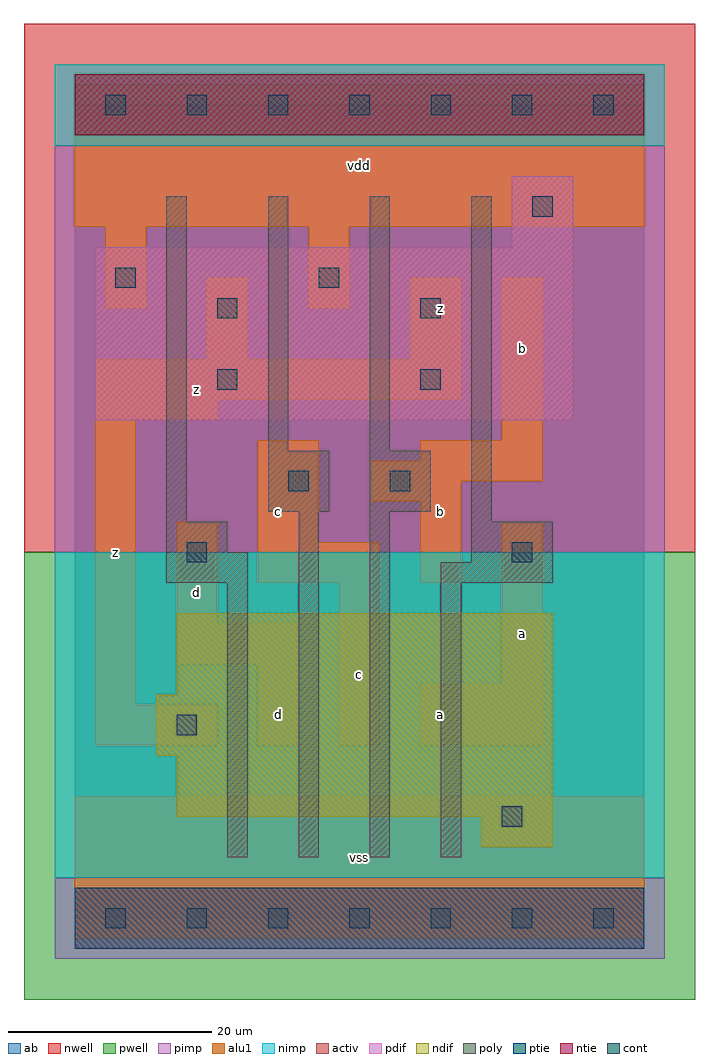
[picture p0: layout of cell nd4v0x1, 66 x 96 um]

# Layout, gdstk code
import gdstk
lib = gdstk.Library(unit=1e-6, precision=1e-09)
def R(c, l, rs):  # rectangles x0, y0, x1, y1
    for r in rs: c.add(gdstk.rectangle(r[:2], r[2:], *l))
def A(c, l, x, y, w, h, nx, ny, dx, dy):  # array of equal rectangles
    R(c, l, [(x+i*dx, y+j*dy, x+i*dx+w, y+j*dy+h) for i in range(nx) for j in range(ny)])
ndif = (3, 0)
pdif = (4, 0)
ntie = (5, 0)
ptie = (6, 0)
cont = (25, 0)
pwell = (41, 0)
nwell = (42, 0)
activ = (43, 0)
pimp = (44, 0)
nimp = (45, 0)
poly = (46, 0)
alu1 = (49, 0)
ab = (63, 0)

nd4v0x1 = lib.new_cell('nd4v0x1')
R(nd4v0x1, ndif, [(40,7,47,10), (10,10,47,16), (8,16,47,22), (10,22,47,30)])
R(nd4v0x1, pdif, [(2,49,49,66), (43,66,49,73)])
R(nd4v0x1, ntie, [(0,77,56,83)])
R(nd4v0x1, ptie, [(0,-3,56,3)])
A(nd4v0x1, cont, 3, -1, 2, 2, 7, 2, 8, 80)
R(nd4v0x1, cont, [(42,9,44,11), (10,18,12,20), (11,35,13,37), (43,35,45,37), (21,42,23,44), (31,42,33,44), (14,52,16,54), (34,52,36,54), (14,59,16,61), (34,59,36,61), (4,62,6,64), (24,62,26,64), (45,69,47,71)])
R(nd4v0x1, pwell, [(-5,-8,61,36)])
R(nd4v0x1, nwell, [(-5,36,61,88)])
R(nd4v0x1, activ, [(0,-3,56,3), (40,7,47,10), (10,10,47,16), (8,16,47,22), (10,22,47,30), (2,49,49,66), (43,66,49,73), (0,77,56,83)])
R(nd4v0x1, pimp, [(-2,-4,58,4), (-2,36,58,76)])
R(nd4v0x1, nimp, [(-2,4,58,36), (-2,76,58,84)])
R(nd4v0x1, poly, [(15,6,17,33), (22,6,24,40), (29,6,31,40), (36,6,38,33), (9,33,17,36), (36,33,47,35), (39,35,47,39), (9,36,15,39), (9,39,11,71), (39,39,41,71), (19,40,25,46), (29,40,35,46), (19,46,21,71), (29,46,31,71)])
R(nd4v0x1, alu1, [(0,-2,56,12), (2,17,14,21), (18,17,22,25), (26,17,30,33), (34,17,46,23), (2,21,6,49), (42,23,46,39), (10,25,22,29), (10,29,14,39), (18,33,30,37), (34,33,38,41), (18,37,24,47), (29,41,38,43), (29,43,46,45), (34,45,46,47), (42,47,46,63), (2,49,14,51), (2,51,38,55), (13,55,17,63), (33,55,38,63), (3,60,7,68), (23,60,27,68), (0,68,56,82)])
R(nd4v0x1, ab, [(0,0,56,80)])
nd4v0x1.add(gdstk.Label('z', (4,36), layer=49, texttype=0))
nd4v0x1.add(gdstk.Label('d', (20,20), layer=49, texttype=0))
nd4v0x1.add(gdstk.Label('d', (12,32), layer=49, texttype=0))
nd4v0x1.add(gdstk.Label('c', (20,40), layer=49, texttype=0))
nd4v0x1.add(gdstk.Label('z', (12,52), layer=49, texttype=0))
nd4v0x1.add(gdstk.Label('vss', (28,6), layer=49, texttype=0))
nd4v0x1.add(gdstk.Label('a', (36,20), layer=49, texttype=0))
nd4v0x1.add(gdstk.Label('c', (28,24), layer=49, texttype=0))
nd4v0x1.add(gdstk.Label('b', (36,40), layer=49, texttype=0))
nd4v0x1.add(gdstk.Label('z', (36,60), layer=49, texttype=0))
nd4v0x1.add(gdstk.Label('vdd', (28,74), layer=49, texttype=0))
nd4v0x1.add(gdstk.Label('a', (44,28), layer=49, texttype=0))
nd4v0x1.add(gdstk.Label('b', (44,56), layer=49, texttype=0))

lib.write_gds('nd4v0x1.gds')
